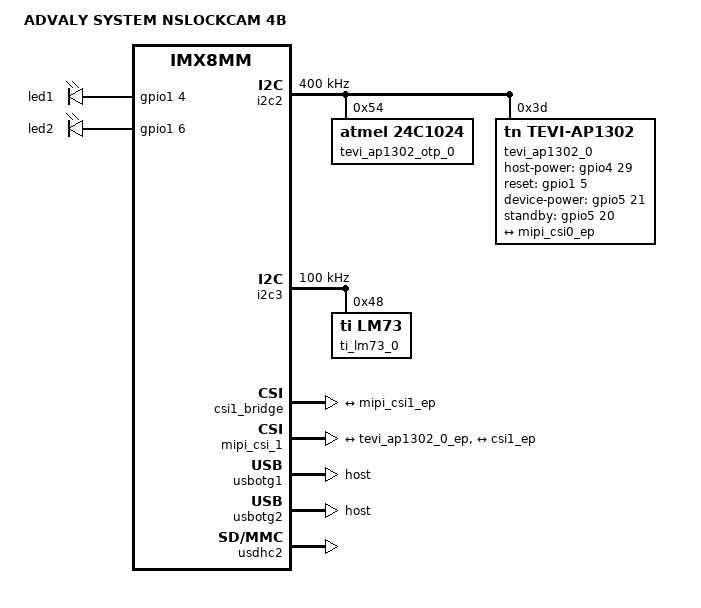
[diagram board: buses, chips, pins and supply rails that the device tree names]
/* SPDX-License-Identifier: (GPL-2.0+ OR MIT)
 *
 * Copyright 2023 ADVALY SYSTEM Inc.
 *
 */

/dts-v1/;

#include "imx8mm-pico.dtsi"

/ {
	model = "ADVALY SYSTEM NSLOCKCAM 4B";
	compatible = "fsl,imx8mm-pico", "fsl,imx8mm";

	regulators {
		compatible = "simple-bus";
		#address-cells = <1>;
		#size-cells = <0>;
	};

	leds {
		compatible = "gpio-leds";
		pinctrl-names = "default";
		pinctrl-0 = <&pinctrl_gpio_led>;

		led1 {
			label = "led1";
			gpios = <&gpio1 4 GPIO_ACTIVE_HIGH>;
			default-state = "off";
		};

		led2 {
			label = "led2";
			gpios = <&gpio1 6 GPIO_ACTIVE_HIGH>;
			default-state = "off";
		};
	};
};

&iomuxc {
	pinctrl_csi_rst: csi_rst_grp {
		fsl,pins = <
			MX8MM_IOMUXC_SAI3_RXC_GPIO4_IO29		0x19
			MX8MM_IOMUXC_GPIO1_IO05_GPIO1_IO5		0x19
			MX8MM_IOMUXC_I2C4_SCL_GPIO5_IO20		0x19
			MX8MM_IOMUXC_I2C4_SDA_GPIO5_IO21		0x19
			MX8MM_IOMUXC_GPIO1_IO14_CCMSRCGPCMIX_CLKO1	0x59
		>;
	};
	pinctrl_gpio_led: gpioledgrp {
		fsl,pins = <
			MX8MM_IOMUXC_GPIO1_IO04_GPIO1_IO4	0x19
			MX8MM_IOMUXC_GPIO1_IO06_GPIO1_IO6	0x19
		>;
	};
};

&i2c2 {
	clock-frequency = <400000>;
	pinctrl-names = "default";
	pinctrl-0 = <&pinctrl_i2c2>;
	#address-cells = <1>;
	#size-cells = <0>;
	status = "okay";

	tevi_ap1302_otp_0: eeprom@54 {
		compatible = "atmel,24c1024";
		reg = <0x54>;
		pagesize = <256>;
		status = "okay";
	};

	tevi_ap1302_0: tevi_ap1302@3d {
		compatible = "tn,tevi-ap1302";
		reg = <0x3d>;

		pinctrl-names = "default";
		pinctrl-0 = <&pinctrl_csi_rst>;

		host-power-gpios = <&gpio4 29 GPIO_ACTIVE_HIGH>;
		reset-gpios = <&gpio1 5 GPIO_ACTIVE_HIGH>;
		device-power-gpios = <&gpio5 21 GPIO_ACTIVE_HIGH>;
		standby-gpios = <&gpio5 20 GPIO_ACTIVE_HIGH>;

		nvmem = <&tevi_ap1302_otp_0>;
		nvmem-names = "calib-data";
		data-lanes = <2>;
		continuous-clock = <0>;

		status = "okay";

		port {
			tevi_ap1302_0_ep: endpoint {
				remote-endpoint = <&mipi_csi0_ep>;
			};
		};
	};
};

&i2c3 {
	clock-frequency = <100000>;
	pinctrl-names = "default";
	pinctrl-0 = <&pinctrl_i2c3>;
	#address-cells = <1>;
	#size-cells = <0>;
	status = "okay";

	ti_lm73_0: ti_lm73@48 {
		compatible = "ti,lm73";
		reg = <0x48>;
		status = "okay";
	};
};

&csi1_bridge {
	fsl,mipi-mode;
	status = "okay";

	port {
		csi1_ep: endpoint {
			remote-endpoint = <&mipi_csi1_ep>;
		};
	};
};

&mipi_csi_1 {
	#address-cells = <1>;
	#size-cells = <0>;
	status = "okay";

	port {
		mipi_csi0_ep: endpoint@1 {
			remote-endpoint = <&tevi_ap1302_0_ep>;
			data-lanes = <2>;
			csis-hs-settle = <19>;
			csis-clk-settle = <2>;
			csis-wclk;
		};

		mipi_csi1_ep: endpoint@2 {
			remote-endpoint = <&csi1_ep>;
		};
	};
};

&usbotg1 {
	/* Hub, FTDI and SIM7500 LTE module */
	dr_mode = "host";
	status = "okay";
};

&usbotg2 {
	/* Mic */
	dr_mode = "host";
	status = "okay";
};

&usdhc2 {
	status = "okay";
};
